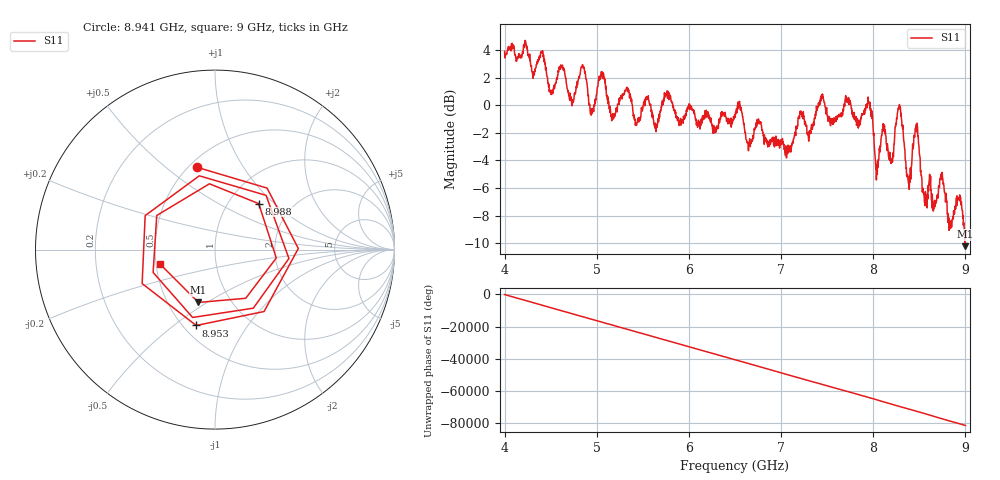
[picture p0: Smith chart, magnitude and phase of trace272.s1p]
! Created with skrf 1.8.0 (http://scikit-rf.org).
# Hz S RI R 50.0
!freq ReS11 ImS11
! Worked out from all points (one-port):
!   1601 points, 4 GHz to 9 GHz, reference 50 ohm
!   lowest |S11| = -10.2 dB at 8.997 GHz (marker M1), VSWR 1.89, Z = 35.3 - j23 ohm
!   |S11| at or under -10 dB: 8.995094 GHz to 8.999449 GHz (4.355 MHz wide, 0.0484 % of centre)
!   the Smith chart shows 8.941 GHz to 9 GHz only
!   S11 on the Smith chart (normalised r, x): 8.941 GHz: 0.55, +0.64; 8.953 GHz: 0.58, -0.60; 8.988 GHz: 1.37, +0.80; 9 GHz: 0.52, -0.09
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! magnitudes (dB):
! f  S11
! 4 GHz  3.9
! 4.406 GHz  3.8
! 4.509 GHz  0.8
! 4.625 GHz  2.8
! 4.728 GHz  0.1
! 4.847 GHz  2.9
! 4.941 GHz  -0.7
! 5.053 GHz  2.1
! 5.169 GHz  -1.0
! 5.25 GHz  0.4
! 5.875 GHz  -1.1
! 6.5 GHz  -0.8
! 7.125 GHz  -2.6
! 7.438 GHz  0.6
! 7.75 GHz  0.3
! 7.959 GHz  0.2
! 8.041 GHz  -4.4
! 8.112 GHz  -1.3
! 8.197 GHz  -4.2
! 8.284 GHz  0.1
! 8.375 GHz  -5.2
! 8.466 GHz  -1.7
! 8.559 GHz  -7.1
! 8.941 GHz  -6.6
! 8.953 GHz  -7.2
! 8.988 GHz  -9.0
! 8.997 GHz  -10.2
! 9 GHz  -10.0
